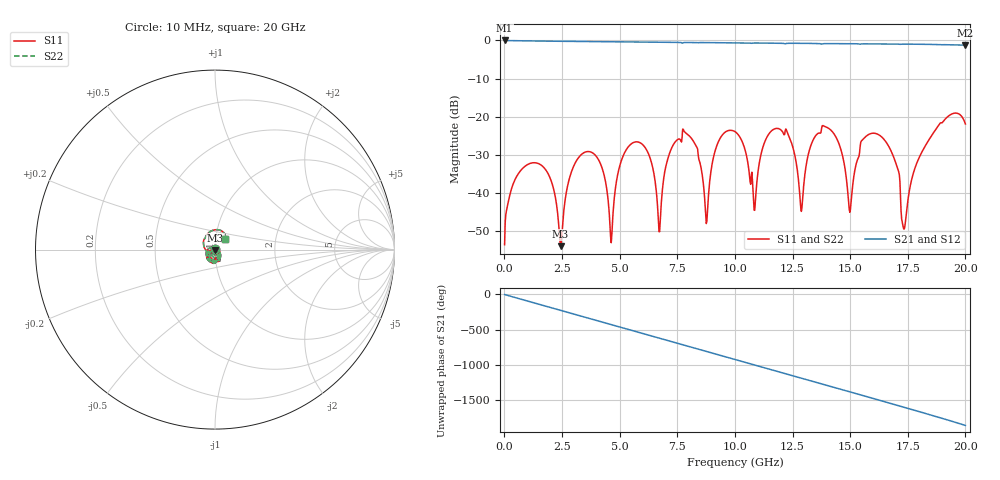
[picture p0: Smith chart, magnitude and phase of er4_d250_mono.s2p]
! Stitch-rule transferability - stripline, 2 mm stitch pitch, cut at x=20 mm
! Case: er4_d250_mono
! Sweep: 10 MHz - 20 GHz, 25 MHz step, 4 cores
# GHz S MA R 50.000000
! Terminal data exported
! Port[1] = U1.PAD1.SIG
! Port[2] = U2.PAD1.SIG
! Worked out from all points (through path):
!   801 points, 10 MHz to 20 GHz, reference 50 ohm
!   highest |S21| = -0.02 dB at 10 MHz (marker M1); lowest = -1.2 dB at 20 GHz (marker M2)
!   group delay of S21, straight-line fit = 256 ps
!   lowest |S11| = -53.9 dB at 2.435 GHz (marker M3), VSWR 1.00, Z = 50.1 - j0.166 ohm
!   |S11| at or under -10 dB: start of sweep to end of sweep
!   |S22| runs from -53.9 to -19.0 dB; largest |S21 - S12| = 0
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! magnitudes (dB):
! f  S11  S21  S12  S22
! 10 MHz  -53.5  0.0  0.0  -53.5
! 1.31 GHz  -32.0  -0.2  -0.2  -32.0
! 2.435 GHz  -53.9  -0.2  -0.2  -53.9
! 3.36 GHz  -29.8  -0.3  -0.3  -29.8
! 4.635 GHz  -53.0  -0.4  -0.4  -53.0
! 5.135 GHz  -30.5  -0.4  -0.4  -30.5
! 5.96 GHz  -27.1  -0.4  -0.4  -27.1
! 6.685 GHz  -47.6  -0.5  -0.5  -47.6
! 7.81 GHz  -23.9  -0.6  -0.6  -23.9
! 8.76 GHz  -47.9  -0.6  -0.6  -48.0
! 10.01 GHz  -23.9  -0.7  -0.7  -23.9
! 10.86 GHz  -44.5  -0.7  -0.7  -44.5
! 11.59 GHz  -23.7  -0.7  -0.7  -23.7
! 12.88 GHz  -44.8  -0.8  -0.8  -44.8
! 13.36 GHz  -26.5  -0.8  -0.8  -26.5
! 14.34 GHz  -24.8  -0.8  -0.8  -24.8
! 14.98 GHz  -45.0  -0.9  -0.9  -45.1
! 15.56 GHz  -25.9  -0.9  -0.9  -25.9
! 16.68 GHz  -27.9  -0.9  -0.9  -27.9
! 17.34 GHz  -49.4  -1.0  -1.0  -49.6
! 18.36 GHz  -26.6  -1.0  -1.0  -26.6
! 20 GHz  -21.9  -1.2  -1.2  -21.8
